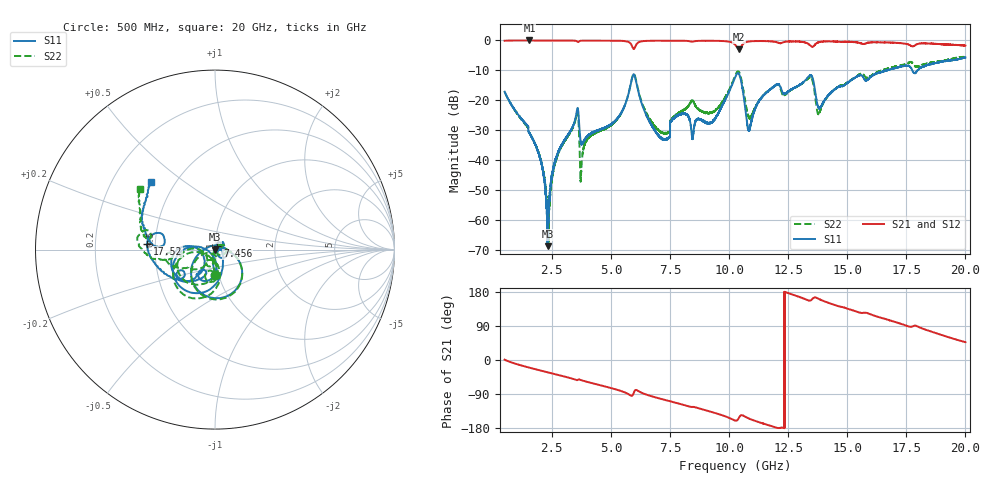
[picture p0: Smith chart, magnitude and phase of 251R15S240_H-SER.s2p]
!{251R15S240}
!Johanson Technology Inc.
!www.johansontechnology.com
!Test Board Conditions:
!Substrate Type  RO4350B
!Substrate Thickness  20 mil
!Substrate Dk  3.66
!TL Type: GCPW
!TL Trace Width  34 mil
!TL Gap  10 mil
!Electrode orientation  Horizontal
!DUT TOPOLOGY	SERIES
!Mounting Pad LxW  26x52 mil
! Created Thu Mar 12 17:11:48 2020
# mhz S ma R 50
! 2 Port Network Data from SP1.SP block
! freq  magS11  angS11  magS21  angS21  magS12  angS12  magS22  angS22
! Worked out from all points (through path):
!   19501 points, 500 MHz to 20 GHz, reference 50 ohm
!   highest |S21| = -0.01 dB at 1.55 GHz (marker M1); lowest = -2.9 dB at 10.42 GHz (marker M2)
!   group delay of S21, straight-line fit = 43 ps
!   lowest |S11| = -68.8 dB at 2.329 GHz (marker M3), VSWR 1.00, Z = 50 - j0.0207 ohm
!   |S11| at or under -10 dB: start of sweep to 16.69 GHz; 17.75 GHz to 17.97 GHz (223.2 MHz wide, 1.25 % of centre)
!   |S22| runs from -68.0 to -5.4 dB; largest |S21 - S12| = 0.024
!   S11 on the Smith chart (normalised r, x): 500 MHz: 0.96, -0.27; 7.456 GHz: 1.03, +0.04; 17.52 GHz: 0.45, +0.03; 20 GHz: 0.37, +0.38
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500  0.1391 -89.5  0.9888 0.9  0.9896 0.9  0.1388 -89.0
1550  0.02827 -112.3  0.9993 -20.1  0.9986 -20.2  0.02841 -108.1
2058  0.008872 -123.1  0.9985 -28.4  0.9983 -28.4  0.009266 -111.9
2329  0.0003643 -34.6  0.9977 -32.7  0.9975 -32.7  0.0007261 -71.2
2655  0.01048 36.0  0.9976 -37.8  0.9963 -37.8  0.009483 58.6
3525  0.05613 8.2  0.9801 -52.5  0.9798 -52.5  0.05167 31.1
3750  0.01865 -31.0  0.9901 -53.3  0.9897 -53.3  0.007705 45.3
5263  0.04909 -2.4  0.9899 -78.6  0.9896 -78.6  0.04818 12.4
5958  0.2717 -82.3  0.7205 -88.1  0.7208 -88.0  0.2776 -82.4
7000  0.02612 126.8  0.9896 -100.5  0.9905 -100.5  0.0317 -138.4
7456  0.02385 54.8  0.9916 -108.1  0.9917 -108.2  0.02892 -95.8
8415  0.02785 26.4  0.9557 -123.8  0.9557 -123.8  0.09805 -108.6
9301  0.04375 -15.6  0.9851 -137.9  0.9867 -137.9  0.06336 -96.6
10250  0.2395 -102.5  0.8531 -159.7  0.854 -159.7  0.2533 -96.9
10417  0.2757 -146.1  0.7156 -152.5  0.7186 -152.5  0.2982 -135.9
10848  0.03111 -130.8  0.9614 -154.7  0.9611 -154.8  0.04975 -134.7
11770  0.1541 -94.9  0.9675 -173.9  0.9662 -173.9  0.1552 -85.5
13500  0.2544 -163.4  0.7832 159.3  0.786 159.2  0.2297 -156.7
13805  0.07336 -157.1  0.9364 160.8  0.9398 160.9  0.06025 -141.5
16750  0.3244 -159.4  0.9252 105.7  0.9153 105.1  0.3428 -171.2
17525  0.379 175.1  0.869 90.2  0.8656 89.8  0.4105 179.1
20000  0.5183 133.5  0.8239 47.0  0.8231 47.2  0.5362 141.3
